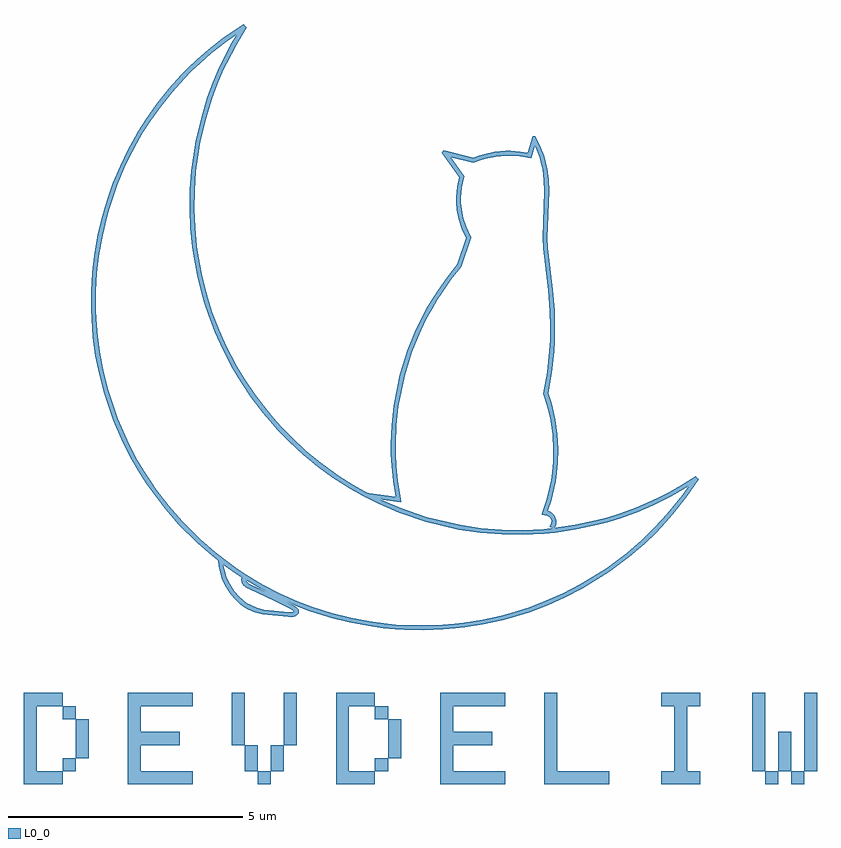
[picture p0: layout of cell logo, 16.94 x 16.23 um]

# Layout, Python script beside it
import gdspy
import numpy as np 

""" renders my devdeliw logo """

lib = gdspy.GdsLibrary() 
cell = lib.new_cell('logo') 

def render_moon(): 
    moon = gdspy.FlexPath(
        [ 
            (-3.28, 10.12), 
        ], 0.1
    )
    moon.smooth(
        [ 
            (-4.65, -0.5), 
            (6.38, 0.46),
        ],
        relative=False
    )
    moon2 = gdspy.FlexPath(
        [
            (6.38, 0.46)
        ], 0.1
    )
    moon2.smooth(
        [
            (-2, 1), 
            (-3.28, 10.12),
        ], 
        relative=False
    )
    cell.add(moon)
    cell.add(moon2)

    return

def render_devdeliw(): 
    devdeliw = gdspy.Text('DEVDELIW', 2.5, (10, -10))
    devdeliw.translate(-18, 3.37)

    cell.add(devdeliw)

    return 

def render_cat():
    cat = gdspy.FlexPath(
        [(-0.7, 0.1), (0, 0)], 0.1
    )
    cat.smooth(
        [ 
            (-0.05, 2),
            (1.3, 5), 
        ]

    )
    cat.segment((1.5, 5.6))
    cat.smooth(
        [
            (1.3, 6.2), 
            (1.35, 6.9),
        ],
        relative=False
    )
    cat.segment((1.0, 7.4))
    cat.segment((1.6, 7.25))
    cat.smooth(
        [
            (2.3, 7.4),
            (2.8, 7.35),
        ], 
        relative=False
    )
    cat.segment((2.9, 7.7))
    cat.smooth(
        [
            (3, 7.5),
            (3.17, 6.59),
            (3.13, 5.6),
            (3.25, 4.48),
            (3.15, 2.27),
        ], 
        relative=False
    )
    cat.segment((3.15, 2.27)) 
    cat.smooth(
        [
            (3.36, 1.08), 
            (3.13, -0.28),
        ],
        relative=False
    )
    cat.segment((3.13, -0.28)) 
    cat.smooth(
        [
            (3.32, -0.52), 
            (3.28, -0.6), 
        ],
        relative=False
    )

    tail = gdspy.FlexPath(
        [(-3.8, -1.3)], 0.1
    )

    tail.smooth(
        [
           (-3.65, -1.82), 
            (-2.89, -2.4),
            (-2.35, -2.45),
            (-2.18, -2.37),
            (-2.22, -2.33),
            (-2.29, -2.29), 
            (-2.614, -2.12),
            (-3.157, -1.87),
            (-3.31, -1.7),
            (-3.25, -1.62),
        ],
        relative=False
    )

    cell.add(cat)
    cell.add(tail)

    return 



def render(): 
    render_cat()
    render_moon()
    render_devdeliw()
    


    return 



if __name__ == '__main__': 
    render()










# export to gds
lib.write_gds('logo.gds')

